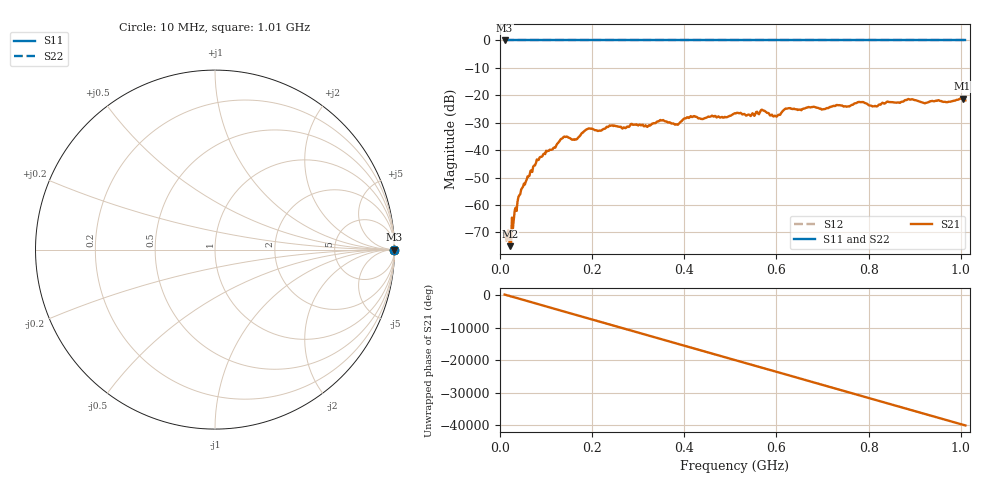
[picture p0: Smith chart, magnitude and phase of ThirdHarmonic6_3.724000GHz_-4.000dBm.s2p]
! 8/17/2025 12:42:32 PM
! C:\ANRITSUVNA\TEMP\TEMP.S2P
! CHANNEL.1
! TR.MEASUREMENT
! RAW.DATA
! RF.CORRECTION.OFF
! AVERAGING.OFF
! IF.BANDWIDTH: 5KHZ
! SWEEPTYPE:  FREQ.SWEEP(Linear)
! Reference Plane Port Info
! PORT:  PORT1  PORT2
! DISTANCE:  0  m  0  m
! TIME:  0  s  0  s
! PHASE.OFFSET:  0  deg.  0  deg.
! LOSS:  0  dB  0  dB
! REF.LOSS:  0  dB  0  dB
! REF.FREQ:  0  Hz  0  Hz
! Power Info
! POWER:  -20  dBm  -20  dBm
! EFF.POWER:  -20  dBm  -20  dBm
! SOURCE.ATTEN:  0  dB  0  dB
! TEST.ATTEN:  0  dB  0  dB
# GHZ S RI R 50.0
! FREQ.GHZ  S11RE  S11IM  S21RE  S21IM  S12RE  S12IM  S22RE  S22IM
!; PortSelection: Port_12
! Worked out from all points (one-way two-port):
!   501 points, 10 MHz to 1.01 GHz, reference 50 ohm
!   highest |S21| = -21.19 dB at 1.004 GHz (marker M1); lowest = -75.1 dB at 22 MHz (marker M2)
!   lowest |S11| = 0.0 dB at 10 MHz (marker M3)
!   |S11| at or under -10 dB: nowhere
!   |S22| runs from 0.0 to 0.0 dB; largest |S21 - S12| = 1.1
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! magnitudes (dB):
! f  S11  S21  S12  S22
! 10 MHz  0.0  -70.3  0.0  0.0
! 20 MHz  0.0  -72.5  0.0  0.0
! 22 MHz  0.0  -75.1  0.0  0.0
! 24 MHz  0.0  -74.1  0.0  0.0
! 44 MHz  0.0  -56.1  0.0  0.0
! 82 MHz  0.0  -43.6  0.0  0.0
! 136 MHz  0.0  -35.6  0.0  0.0
! 162 MHz  0.0  -36.3  0.0  0.0
! 178 MHz  0.0  -33.7  0.0  0.0
! 192 MHz  0.0  -32.1  0.0  0.0
! 318 MHz  0.0  -31.4  0.0  0.0
! 344 MHz  0.0  -29.6  0.0  0.0
! 384 MHz  0.0  -30.7  0.0  0.0
! 410 MHz  0.0  -28.3  0.0  0.0
! 510 MHz  0.0  -26.6  0.0  0.0
! 570 MHz  0.0  -25.4  0.0  0.0
! 598 MHz  0.0  -27.5  0.0  0.0
! 622 MHz  0.0  -24.9  0.0  0.0
! 678 MHz  0.0  -24.3  0.0  0.0
! 844 MHz  0.0  -22.5  0.0  0.0
! 1.004 GHz  0.0  -21.2  0.0  0.0
! 1.01 GHz  0.0  -21.9  0.0  0.0
